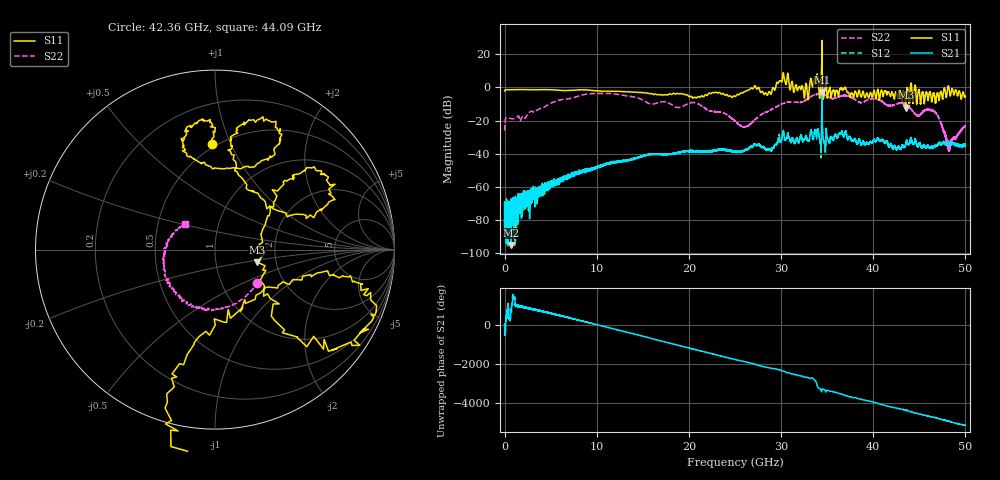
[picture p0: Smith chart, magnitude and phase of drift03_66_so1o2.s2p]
!Created with skrf (http://scikit-rf.org).
# Hz S RI R 50.0
!freq ReS11 ImS11 ReS21 ImS21 ReS12 ImS12 ReS22 ImS22
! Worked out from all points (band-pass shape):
!   10000 points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, 5.3 MHz to 50 GHz, reference 50 ohm
!   highest |S21| = -3.00 dB at 34.43 GHz (marker M1); lowest = -95.0 dB at 705.3 MHz (marker M2)
!   |S21| within 3 dB of the highest: 34.42743 GHz to 34.43457 GHz (7.14 MHz wide, 0.0207 % of centre)
!   lowest |S11| = -12.2 dB at 43.53 GHz (marker M3), VSWR 1.65, Z = 79.5 - j11.8 ohm
!   |S11| at or under -10 dB: 43.48813 GHz to 43.55188 GHz (63.74 MHz wide, 0.146 % of centre); 44.70881 GHz to 44.71053 GHz (1.721 MHz wide, 0.00385 % of centre); 45.13809 GHz to 45.14097 GHz (2.875 MHz wide, 0.00637 % of centre)
!   |S22| runs from -38.6 to -3.6 dB; largest |S21 - S12| = 0.22
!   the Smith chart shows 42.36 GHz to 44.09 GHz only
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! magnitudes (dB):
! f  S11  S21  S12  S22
! 5.3 MHz  -2.1  -83.1  -68.6  -26.1
! 705.3 MHz  -1.4  -95.0  -74.6  -18.9
! 2.1 GHz  -1.3  -64.7  -68.3  -17.8
! 8.34 GHz  -1.5  -51.0  -51.0  -4.7
! 16.67 GHz  -4.4  -40.3  -40.2  -9.2
! 20.72 GHz  -6.2  -38.2  -38.3  -9.3
! 25.01 GHz  -5.5  -39.0  -38.9  -20.4
! 26.21 GHz  -2.3  -37.3  -37.5  -23.7
! 27.37 GHz  -1.1  -34.9  -34.6  -18.6
! 28.72 GHz  -2.5  -37.6  -37.5  -14.1
! 30.14 GHz  4.4  -29.5  -29.7  -9.9
! 32.74 GHz  2.0  -29.6  -29.2  -7.4
! 33.34 GHz  2.7  -27.6  -27.8  -5.2
! 33.82 GHz  4.0  -29.2  -29.5  -4.3
! 34.43 GHz  28.3  -3.0  -5.1  -3.9
! 36.48 GHz  -0.5  -28.0  -28.0  -5.4
! 41.67 GHz  -2.8  -35.5  -35.6  -11.1
! 43.53 GHz  -12.2  -34.1  -34.2  -10.4
! 44.8 GHz  -6.2  -35.5  -35.4  -17.3
! 46.67 GHz  -5.4  -35.4  -35.8  -14.7
! 48.21 GHz  -0.1  -33.4  -33.5  -36.6
! 50 GHz  -5.3  -34.2  -35.1  -23.4
